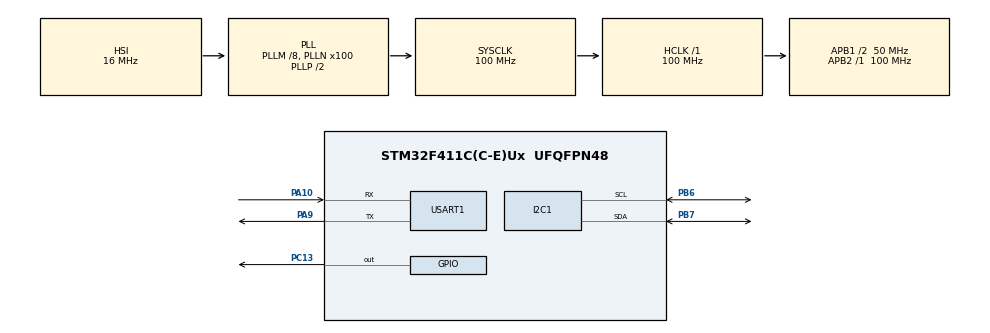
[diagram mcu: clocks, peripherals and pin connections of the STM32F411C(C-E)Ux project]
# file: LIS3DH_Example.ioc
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I2C1.I2C_Mode=I2C_Fast
Mcu.Family=STM32F4
Mcu.Name=STM32F411C(C-E)Ux
Mcu.Package=UFQFPN48
NVIC.PriorityGroup=NVIC_PRIORITYGROUP_4
PA10.Mode=Asynchronous
PA10.Signal=USART1_RX
PA13.Mode=Serial_Wire
PA13.Signal=SYS_JTMS-SWDIO
PA14.Mode=Serial_Wire
PA14.Signal=SYS_JTCK-SWCLK
PA9.Mode=Asynchronous
PA9.Signal=USART1_TX
PB6.Mode=I2C
PB6.Signal=I2C1_SCL
PB7.Mode=I2C
PB7.Signal=I2C1_SDA
PC13-ANTI_TAMP.Signal=GPIO_Output
PH0\ -\ OSC_IN.Mode=HSE-External-Oscillator
PH0\ -\ OSC_IN.Signal=RCC_OSC_IN
PH1\ -\ OSC_OUT.Mode=HSE-External-Oscillator
PH1\ -\ OSC_OUT.Signal=RCC_OSC_OUT
ProjectManager.HeapSize=0x200
ProjectManager.StackSize=0x400
ProjectManager.TargetToolchain=STM32CubeIDE
RCC.48MHZClocksFreq_Value=50000000
RCC.AHBFreq_Value=100000000
RCC.APB1CLKDivider=RCC_HCLK_DIV2
RCC.APB1Freq_Value=50000000
RCC.APB1TimFreq_Value=100000000
RCC.APB2Freq_Value=100000000
RCC.APB2TimFreq_Value=100000000
RCC.CortexFreq_Value=100000000
RCC.HCLKFreq_Value=100000000
RCC.HSE_VALUE=25000000
RCC.HSI_VALUE=16000000
RCC.LSE_VALUE=32768
RCC.PLLM=8
RCC.PLLN=100
RCC.SYSCLKFreq_VALUE=100000000
RCC.SYSCLKSource=RCC_SYSCLKSOURCE_PLLCLK
RCC.VCOOutputFreq_Value=200000000
USART1.VirtualMode=VM_ASYNC
board=custom

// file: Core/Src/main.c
/* USER CODE BEGIN Header */
/**
  ******************************************************************************
  * @file           : main.c
  * @brief          : Main program body
  ******************************************************************************
  * @attention
  *
  * Copyright (c) 2026 STMicroelectronics.
  * All rights reserved.
  *
  * This software is licensed under terms that can be found in the LICENSE file
  * in the root directory of this software component.
  * If no LICENSE file comes with this software, it is provided AS-IS.
  *
  ******************************************************************************
  */
/* USER CODE END Header */
#include "main.h"

/* USER CODE BEGIN Includes */
#include "LIS3DH.h"
#include "ANSII_Codes.h"
#include <stdio.h>
#include <stdlib.h>
#include <string.h>
#include <math.h>
/* USER CODE END Includes */

/* USER CODE BEGIN PD */
/* -- Parámetros de la batería de pruebas -- */
#define LIS_MUESTRAS        10U        /**< Lecturas seguidas del test de muestras */
#define LIS_SENTINEL        1000.0f    /**< Fuera de escala (±16 g): delata campos que la lectura no escribió */
#define LIS_FLOAT_TOL       0.001f     /**< Tolerancia al comparar los campos float de GetSensor */

/* En reposo: |a| ~ 1 g en cualquier orientación. Tolerancia amplia porque el sensor viene
 * sin calibrar (el datasheet da ±40 mg de offset en cero-g); ajustar si la placa falla quieta */
#define LIS_ACCEL_MOD_MIN   0.8f       /**< |a| mínimo en reposo [g] */
#define LIS_ACCEL_MOD_MAX   1.2f       /**< |a| máximo en reposo [g] */
/* USER CODE END PD */

/* USER CODE BEGIN PM */
#define LIS_CHECK(x)  do { if ((x) != LIS3DH_OK) { Error_Handler(); } } while (0)
/* Para los tests de error: la llamada debe devolver exactamente el estado esperado */
#define LIS_EXPECT(x, st)  do { if ((x) != (st)) { Error_Handler(); } } while (0)
/* USER CODE END PM */

I2C_HandleTypeDef hi2c1;

UART_HandleTypeDef huart1;

/* USER CODE BEGIN PV */
LIS3DH_Status_t status;
/* USER CODE END PV */

void SystemClock_Config(void);
static void MX_GPIO_Init(void);
static void MX_I2C1_Init(void);
static void MX_USART1_UART_Init(void);
/* USER CODE BEGIN PFP */
static void LIS3DH_Centinela(LIS3DH_Accel_t* a);
static void LIS3DH_Leer(LIS3DH_Accel_t* a);
static void LIS3DH_CheckReposo(const LIS3DH_Accel_t* a, float g);
static void LIS3DH_CheckSinTocar(const LIS3DH_Accel_t* a);
static void LIS3DH_CheckConfig(LIS3DH_Range_t range, LIS3DH_DataRate_t odr);
static void LIS3DH_CheckCongelado(void);
static void LIS3DH_CheckVivo(void);
static void LIS3DH_PrintVal(const char* nombre, float v);
static void LIS3DH_Print(const char* unidad, const LIS3DH_Accel_t* a);
static void LIS3DH_TestSuite(void);
static void LIS3DH_TestPreInit(void);
static void LIS3DH_TestLectura(void);
static void LIS3DH_TestMuestras(void);
static void LIS3DH_TestEscalas(void);
static void LIS3DH_TestTasas(void);
static void LIS3DH_TestPowerDown(void);
static void LIS3DH_TestErrores(void);
static void LIS3DH_TestDeInit(void);
/* USER CODE END PFP */

int main(void)
{

  /* MCU Configuration--------------------------------------------------------*/

  /* Reset of all peripherals, Initializes the Flash interface and the Systick. */
  HAL_Init();

  /* Configure the system clock */
  SystemClock_Config();

  /* Initialize all configured peripherals */
  MX_GPIO_Init();
  MX_I2C1_Init();
  MX_USART1_UART_Init();
  /* USER CODE BEGIN 2 */
  printf(CLEAR_SCREEN CURSOR_HOME COLOR_BOLD COLOR_CYAN "LIS3DH TEST" COLOR_RESET "\r\n");
  LIS3DH_TestPreInit();

  status = LIS3DH_Init(&hi2c1);
  if(status != LIS3DH_OK)
  {
	  Error_Handler();
  }
  else
  {
	  HAL_GPIO_WritePin(GPIOC, GPIO_PIN_13, GPIO_PIN_RESET);
  }
  /* USER CODE END 2 */

  /* Infinite loop */
  /* USER CODE BEGIN WHILE */
  while (1)
  {
	  LIS3DH_TestSuite();
    /* USER CODE END WHILE */

  }
}

void SystemClock_Config(void)
{
  RCC_OscInitTypeDef RCC_OscInitStruct = {0};
  RCC_ClkInitTypeDef RCC_ClkInitStruct = {0};

  /** Configure the main internal regulator output voltage
  */
  __HAL_RCC_PWR_CLK_ENABLE();
  __HAL_PWR_VOLTAGESCALING_CONFIG(PWR_REGULATOR_VOLTAGE_SCALE1);

  /** Initializes the RCC Oscillators according to the specified parameters
  * in the RCC_OscInitTypeDef structure.
  */
  RCC_OscInitStruct.OscillatorType = RCC_OSCILLATORTYPE_HSI;
  RCC_OscInitStruct.HSIState = RCC_HSI_ON;
  RCC_OscInitStruct.HSICalibrationValue = RCC_HSICALIBRATION_DEFAULT;
  RCC_OscInitStruct.PLL.PLLState = RCC_PLL_ON;
  RCC_OscInitStruct.PLL.PLLSource = RCC_PLLSOURCE_HSI;
  RCC_OscInitStruct.PLL.PLLM = 8;
  RCC_OscInitStruct.PLL.PLLN = 100;
  RCC_OscInitStruct.PLL.PLLP = RCC_PLLP_DIV2;
  RCC_OscInitStruct.PLL.PLLQ = 4;
  if (HAL_RCC_OscConfig(&RCC_OscInitStruct) != HAL_OK)
  {
    Error_Handler();
  }

  /** Initializes the CPU, AHB and APB buses clocks
  */
  RCC_ClkInitStruct.ClockType = RCC_CLOCKTYPE_HCLK|RCC_CLOCKTYPE_SYSCLK
                              |RCC_CLOCKTYPE_PCLK1|RCC_CLOCKTYPE_PCLK2;
  RCC_ClkInitStruct.SYSCLKSource = RCC_SYSCLKSOURCE_PLLCLK;
  RCC_ClkInitStruct.AHBCLKDivider = RCC_SYSCLK_DIV1;
  RCC_ClkInitStruct.APB1CLKDivider = RCC_HCLK_DIV2;
  RCC_ClkInitStruct.APB2CLKDivider = RCC_HCLK_DIV1;

  if (HAL_RCC_ClockConfig(&RCC_ClkInitStruct, FLASH_LATENCY_3) != HAL_OK)
  {
    Error_Handler();
  }
}

static void MX_I2C1_Init(void)
{

  hi2c1.Instance = I2C1;
  hi2c1.Init.ClockSpeed = 400000;
  hi2c1.Init.DutyCycle = I2C_DUTYCYCLE_2;
  hi2c1.Init.OwnAddress1 = 0;
  hi2c1.Init.AddressingMode = I2C_ADDRESSINGMODE_7BIT;
  hi2c1.Init.DualAddressMode = I2C_DUALADDRESS_DISABLE;
  hi2c1.Init.OwnAddress2 = 0;
  hi2c1.Init.GeneralCallMode = I2C_GENERALCALL_DISABLE;
  hi2c1.Init.NoStretchMode = I2C_NOSTRETCH_DISABLE;
  if (HAL_I2C_Init(&hi2c1) != HAL_OK)
  {
    Error_Handler();
  }

}

static void MX_USART1_UART_Init(void)
{

  huart1.Instance = USART1;
  huart1.Init.BaudRate = 115200;
  huart1.Init.WordLength = UART_WORDLENGTH_8B;
  huart1.Init.StopBits = UART_STOPBITS_1;
  huart1.Init.Parity = UART_PARITY_NONE;
  huart1.Init.Mode = UART_MODE_TX_RX;
  huart1.Init.HwFlowCtl = UART_HWCONTROL_NONE;
  huart1.Init.OverSampling = UART_OVERSAMPLING_16;
  if (HAL_UART_Init(&huart1) != HAL_OK)
  {
    Error_Handler();
  }

}

static void MX_GPIO_Init(void)
{
  GPIO_InitTypeDef GPIO_InitStruct = {0};

  /* GPIO Ports Clock Enable */
  __HAL_RCC_GPIOC_CLK_ENABLE();
  __HAL_RCC_GPIOH_CLK_ENABLE();
  __HAL_RCC_GPIOA_CLK_ENABLE();
  __HAL_RCC_GPIOB_CLK_ENABLE();

  /*Configure GPIO pin Output Level */
  HAL_GPIO_WritePin(GPIOC, GPIO_PIN_13, GPIO_PIN_RESET);

  /*Configure GPIO pin : PC13 */
  GPIO_InitStruct.Pin = GPIO_PIN_13;
  GPIO_InitStruct.Mode = GPIO_MODE_OUTPUT_PP;
  GPIO_InitStruct.Pull = GPIO_NOPULL;
  GPIO_InitStruct.Speed = GPIO_SPEED_FREQ_LOW;
  HAL_GPIO_Init(GPIOC, &GPIO_InitStruct);

}

/* USER CODE BEGIN 4 */

/* printf por USART1 (PA9): syscalls.c redirige _write a esta función débil */
int __io_putchar(int ch)
{
	uint8_t c = (uint8_t)ch;
	HAL_UART_Transmit(&huart1, &c, 1, HAL_MAX_DELAY);
	return ch;
}

/* Rellena la muestra con el centinela para detectar campos que la lectura no escribió */
static void LIS3DH_Centinela(LIS3DH_Accel_t* a)
{
	a->x = a->y = a->z = LIS_SENTINEL;
}

/* Lectura en g: debe ir bien y escribir los tres ejes (el centinela está fuera de escala) */
static void LIS3DH_Leer(LIS3DH_Accel_t* a)
{
	LIS3DH_Centinela(a);
	LIS_CHECK(LIS3DH_GetAccel(a));
	if (a->x == LIS_SENTINEL || a->y == LIS_SENTINEL || a->z == LIS_SENTINEL)
	{
		Error_Handler();
	}
}

/* Placa quieta: solo actúa la gravedad, |a| ~ 1 g (g = 1 para GetAccel, g = 9.81 para GetEvent).
 * Detecta factores de escala o bytes mal combinados que un simple rango no vería */
static void LIS3DH_CheckReposo(const LIS3DH_Accel_t* a, float g)
{
	const float mod2 = a->x * a->x + a->y * a->y + a->z * a->z;
	const float min  = LIS_ACCEL_MOD_MIN * g;
	const float max  = LIS_ACCEL_MOD_MAX * g;

	if (mod2 < min * min || mod2 > max * max)
	{
		Error_Handler();
	}
}

/* Tras una llamada rechazada la muestra debe seguir intacta */
static void LIS3DH_CheckSinTocar(const LIS3DH_Accel_t* a)
{
	if (a->x != LIS_SENTINEL || a->y != LIS_SENTINEL || a->z != LIS_SENTINEL)
	{
		Error_Handler();
	}
}

/* La escala y la tasa leídas del sensor deben coincidir con las esperadas */
static void LIS3DH_CheckConfig(LIS3DH_Range_t range, LIS3DH_DataRate_t odr)
{
	LIS3DH_Range_t    r;
	LIS3DH_DataRate_t d;

	LIS_CHECK(LIS3DH_GetRange(&r));
	LIS_CHECK(LIS3DH_GetDataRate(&d));
	if (r != range || d != odr)
	{
		Error_Handler();
	}
}

/* En power-down el sensor deja de muestrear: dos lecturas separadas deben ser idénticas */
static void LIS3DH_CheckCongelado(void)
{
	LIS3DH_Accel_t a1, a2;

	HAL_Delay(50);
	LIS3DH_Leer(&a1);
	HAL_Delay(100);
	LIS3DH_Leer(&a2);
	if (memcmp(&a1, &a2, sizeof(a1)) != 0)
	{
		Error_Handler();
	}
	LIS3DH_Print("g", &a1);
}

/* Muestreando a 400 Hz en 12 bits, el ruido (~3 mg rms) hace que dos lecturas nunca coincidan */
static void LIS3DH_CheckVivo(void)
{
	LIS3DH_Accel_t a1, a2;

	HAL_Delay(50);     /* Arranque tras power-down: 1/ODR + 1 ms */
	LIS3DH_Leer(&a1);
	HAL_Delay(50);
	LIS3DH_Leer(&a2);
	if (memcmp(&a1, &a2, sizeof(a1)) == 0)
	{
		Error_Handler();
	}
	LIS3DH_Print("g", &a2);
}

/* El proyecto no enlaza -u _printf_float: se imprime en milésimas con enteros (alta resolución = 1 mg) */
static void LIS3DH_PrintVal(const char* nombre, float v)
{
	const int32_t c = (int32_t)(v * 1000.0f);
	printf("%s%s%ld.%03ld ", nombre, (c < 0) ? "-" : "", labs(c) / 1000, labs(c) % 1000);
}

static void LIS3DH_Print(const char* unidad, const LIS3DH_Accel_t* a)
{
	printf("A[%s] ", unidad);
	LIS3DH_PrintVal("x=", a->x);
	LIS3DH_PrintVal("y=", a->y);
	LIS3DH_PrintVal("z=", a->z);
	printf("\r\n");
}

static void LIS3DH_TestSuite(void)
{
	LIS3DH_TestLectura();
	HAL_Delay(2000);

	LIS3DH_TestMuestras();
	HAL_Delay(2000);

	LIS3DH_TestEscalas();
	HAL_Delay(2000);

	LIS3DH_TestTasas();
	HAL_Delay(2000);

	LIS3DH_TestPowerDown();
	HAL_Delay(2000);

	LIS3DH_TestErrores();
	HAL_Delay(2000);

	LIS3DH_TestDeInit();
	HAL_Delay(2000);
}

static void LIS3DH_TestPreInit(void)
{
	LIS3DH_Accel_t    a;
	LIS3DH_Range_t    r;
	LIS3DH_DataRate_t d;
	LIS3DH_Sensor_t   s;

	/* -- Antes de Init: todo devuelve NOT_INITIALIZED sin tocar el bus ni la muestra -- */
	LIS3DH_Centinela(&a);
	LIS_EXPECT(LIS3DH_GetAccel(&a), LIS3DH_NOT_INITIALIZED);
	LIS_EXPECT(LIS3DH_GetEvent(&a), LIS3DH_NOT_INITIALIZED);
	LIS_EXPECT(LIS3DH_SetRange(LIS3DH_RANGE_2G), LIS3DH_NOT_INITIALIZED);
	LIS_EXPECT(LIS3DH_GetRange(&r), LIS3DH_NOT_INITIALIZED);
	LIS_EXPECT(LIS3DH_SetDataRate(LIS3DH_DATARATE_400HZ), LIS3DH_NOT_INITIALIZED);
	LIS_EXPECT(LIS3DH_GetDataRate(&d), LIS3DH_NOT_INITIALIZED);
	LIS_EXPECT(LIS3DH_GetSensor(&s), LIS3DH_NOT_INITIALIZED);
	LIS3DH_CheckSinTocar(&a);

	/* DeInit sobre un driver sin inicializar es inofensivo */
	LIS_CHECK(LIS3DH_DeInit());
}

static void LIS3DH_TestLectura(void)
{
	LIS3DH_Accel_t a;

	/* -- Configuración de Init: ±2 g a 400 Hz -- */
	printf(COLOR_YELLOW "[Lectura]" COLOR_RESET "\r\n");
	LIS3DH_CheckConfig(LIS3DH_RANGE_2G, LIS3DH_DATARATE_400HZ);

	/* -- Lectura única con la placa QUIETA: |a| ~ 1 g en GetAccel y ~ 9.81 m/s² en GetEvent -- */
	LIS3DH_Leer(&a);
	LIS3DH_CheckReposo(&a, 1.0f);
	LIS3DH_Print("g", &a);

	LIS3DH_Centinela(&a);
	LIS_CHECK(LIS3DH_GetEvent(&a));
	LIS3DH_CheckReposo(&a, LIS3DH_GRAVITY_STANDARD);
	LIS3DH_Print("m/s2", &a);
}

static void LIS3DH_TestMuestras(void)
{
	LIS3DH_Accel_t a;

	/* -- Lecturas seguidas cada ~0.5 s: ninguna debe fallar. Inclina la placa: el eje que
	 *    apunta hacia abajo marca ~1 g y los otros dos ~0 g -- */
	printf(COLOR_YELLOW "[Muestras]" COLOR_RESET "\r\n");
	for (uint8_t i = 1; i <= LIS_MUESTRAS; i++)
	{
		LIS3DH_Leer(&a);
		printf("%2u/%u  ", i, LIS_MUESTRAS);
		LIS3DH_Print("g", &a);
		HAL_Delay(500);
	}
}

static void LIS3DH_TestEscalas(void)
{
	/* Datasheet, tabla 4: fondo de escala y sensibilidad en alta resolución [mg/dígito] */
	static const uint8_t rango_g[4] = { 2, 4, 8, 16 };
	static const uint8_t sens_mg[4] = { 1, 2, 4, 12 };
	LIS3DH_Accel_t  a;
	LIS3DH_Sensor_t s;

	/* -- Escalas: GetRange devuelve la escala escrita, GetAccel sigue marcando ~1 g (la
	 *    conversión se ajusta sola) y GetSensor da el fondo de escala y la resolución -- */
	printf(COLOR_YELLOW "[Escalas]" COLOR_RESET "\r\n");
	for (uint8_t r = LIS3DH_RANGE_2G; r <= LIS3DH_RANGE_16G; r++)
	{
		const float max = rango_g[r] * LIS3DH_GRAVITY_STANDARD;
		const float res = sens_mg[r] * LIS3DH_GRAVITY_STANDARD / 1000.0f;

		LIS_CHECK(LIS3DH_SetRange((LIS3DH_Range_t)r));
		LIS3DH_CheckConfig((LIS3DH_Range_t)r, LIS3DH_DATARATE_400HZ);
		LIS3DH_Leer(&a);
		LIS3DH_CheckReposo(&a, 1.0f);

		LIS_CHECK(LIS3DH_GetSensor(&s));
		if (s.name == NULL || strcmp(s.name, "LIS3DH") != 0 ||
			fabsf(s.max_value - max) > LIS_FLOAT_TOL || fabsf(s.min_value + max) > LIS_FLOAT_TOL ||
			fabsf(s.resolution - res) > LIS_FLOAT_TOL)
		{
			Error_Handler();
		}

		printf("+-%2u g  ", rango_g[r]);
		LIS3DH_Print("g", &a);
	}

	/* Restaura la escala de trabajo para el resto de los tests */
	LIS_CHECK(LIS3DH_SetRange(LIS3DH_RANGE_2G));
	printf(COLOR_GREEN "Escalas OK" COLOR_RESET "\r\n");
}

static void LIS3DH_TestTasas(void)
{
	/* Periodo esperado en GetSensor [us]: 1e6 / ODR (0 en power-down). En alta resolución
	 * ODR 8 (1.6 kHz) no es válido (solo bajo consumo), pero el registro se escribe igual */
	static const uint32_t periodo_us[10] = { 0, 1000000, 100000, 40000, 20000, 10000, 5000, 2500, 625, 744 };
	LIS3DH_Sensor_t s;

	/* -- Tasas: GetDataRate devuelve las 10 ODR escritas sin tocar la escala, y GetSensor
	 *    da su periodo -- */
	printf(COLOR_YELLOW "[Tasas]" COLOR_RESET "\r\n");
	for (uint8_t d = LIS3DH_DATARATE_POWERDOWN; d <= LIS3DH_DATARATE_1K344HZ_LP5K376; d++)
	{
		LIS_CHECK(LIS3DH_SetDataRate((LIS3DH_DataRate_t)d));
		LIS3DH_CheckConfig(LIS3DH_RANGE_2G, (LIS3DH_DataRate_t)d);
		LIS_CHECK(LIS3DH_GetSensor(&s));
		if (s.min_delay != periodo_us[d])
		{
			Error_Handler();
		}
		printf("ODR %u -> %lu us\r\n", d, s.min_delay);
	}

	/* Restaura la tasa de trabajo para el resto de los tests */
	LIS_CHECK(LIS3DH_SetDataRate(LIS3DH_DATARATE_400HZ));
	printf(COLOR_GREEN "Tasas OK" COLOR_RESET "\r\n");
}

static void LIS3DH_TestPowerDown(void)
{
	/* -- Power-down: el I2C sigue respondiendo pero las lecturas se congelan -- */
	printf(COLOR_YELLOW "[PowerDown]" COLOR_RESET "\r\n");
	LIS_CHECK(LIS3DH_SetDataRate(LIS3DH_DATARATE_POWERDOWN));
	LIS3DH_CheckCongelado();

	/* -- Volver a 400 Hz: las lecturas vuelven a variar -- */
	LIS_CHECK(LIS3DH_SetDataRate(LIS3DH_DATARATE_400HZ));
	LIS3DH_CheckVivo();
}

static void LIS3DH_TestErrores(void)
{
	LIS3DH_Accel_t a;

	/* -- Punteros de salida NULL y escala/tasa fuera de rango -- */
	printf(COLOR_YELLOW "[Errores]" COLOR_RESET "\r\n");
	LIS_EXPECT(LIS3DH_GetAccel(NULL), LIS3DH_INVALID_PARAM);
	LIS_EXPECT(LIS3DH_GetEvent(NULL), LIS3DH_INVALID_PARAM);
	LIS_EXPECT(LIS3DH_GetRange(NULL), LIS3DH_INVALID_PARAM);
	LIS_EXPECT(LIS3DH_GetDataRate(NULL), LIS3DH_INVALID_PARAM);
	LIS_EXPECT(LIS3DH_GetSensor(NULL), LIS3DH_INVALID_PARAM);
	LIS_EXPECT(LIS3DH_SetRange((LIS3DH_Range_t)(LIS3DH_RANGE_16G + 1)), LIS3DH_INVALID_PARAM);
	LIS_EXPECT(LIS3DH_SetDataRate((LIS3DH_DataRate_t)(LIS3DH_DATARATE_1K344HZ_LP5K376 + 1)), LIS3DH_INVALID_PARAM);

	/* -- Los Set rechazados no deben haber tocado la configuración -- */
	LIS3DH_CheckConfig(LIS3DH_RANGE_2G, LIS3DH_DATARATE_400HZ);

	/* -- Init con handle NULL: se rechaza antes de tocar el estado, el driver sigue funcionando -- */
	LIS_EXPECT(LIS3DH_Init(NULL), LIS3DH_INVALID_PARAM);
	LIS3DH_Leer(&a);
	printf(COLOR_GREEN "Errores OK" COLOR_RESET "\r\n");
}

static void LIS3DH_TestDeInit(void)
{
	LIS3DH_Accel_t    a;
	LIS3DH_Range_t    r;
	LIS3DH_DataRate_t d;
	LIS3DH_Sensor_t   s;

	/* -- Se deja una configuración distinta de la de Init para comprobar luego que Init la restaura -- */
	printf(COLOR_YELLOW "[DeInit]" COLOR_RESET "\r\n");
	LIS_CHECK(LIS3DH_SetRange(LIS3DH_RANGE_16G));
	LIS_CHECK(LIS3DH_SetDataRate(LIS3DH_DATARATE_10HZ));

	/* -- DeInit libera el handle: las llamadas posteriores devuelven NOT_INITIALIZED
	 *    sin tocar el bus ni la muestra. Repetirlo sigue devolviendo OK -- */
	LIS_CHECK(LIS3DH_DeInit());
	LIS_CHECK(LIS3DH_DeInit());
	LIS3DH_Centinela(&a);
	LIS_EXPECT(LIS3DH_GetAccel(&a), LIS3DH_NOT_INITIALIZED);
	LIS_EXPECT(LIS3DH_GetEvent(&a), LIS3DH_NOT_INITIALIZED);
	LIS_EXPECT(LIS3DH_SetRange(LIS3DH_RANGE_2G), LIS3DH_NOT_INITIALIZED);
	LIS_EXPECT(LIS3DH_GetRange(&r), LIS3DH_NOT_INITIALIZED);
	LIS_EXPECT(LIS3DH_SetDataRate(LIS3DH_DATARATE_400HZ), LIS3DH_NOT_INITIALIZED);
	LIS_EXPECT(LIS3DH_GetDataRate(&d), LIS3DH_NOT_INITIALIZED);
	LIS_EXPECT(LIS3DH_GetSensor(&s), LIS3DH_NOT_INITIALIZED);
	LIS3DH_CheckSinTocar(&a);

	/* -- Re-Init: arranca de nuevo y reescribe CTRL_REG1/CTRL_REG4 (vuelve a ±2 g y 400 Hz) -- */
	LIS_CHECK(LIS3DH_Init(&hi2c1));
	LIS3DH_CheckConfig(LIS3DH_RANGE_2G, LIS3DH_DATARATE_400HZ);
	HAL_Delay(50);     /* Primera muestra a 400 Hz tras el cambio de ODR */
	LIS3DH_Leer(&a);
	LIS3DH_CheckReposo(&a, 1.0f);
	printf(COLOR_GREEN "Re-Init OK" COLOR_RESET "\r\n");
}

/* USER CODE END 4 */

void Error_Handler(void)
{
  /* USER CODE BEGIN Error_Handler_Debug */
  /* User can add his own implementation to report the HAL error return state */
  /* Si la UART aún no está inicializada, HAL_UART_Transmit devuelve BUSY sin bloquear */
  printf(COLOR_BOLD COLOR_RED "\r\nERROR: prueba fallida" COLOR_RESET "\r\n");
  while (1)
  {
	  HAL_GPIO_TogglePin(GPIOC, GPIO_PIN_13);
	  HAL_Delay(200);
  }
  /* USER CODE END Error_Handler_Debug */
}
